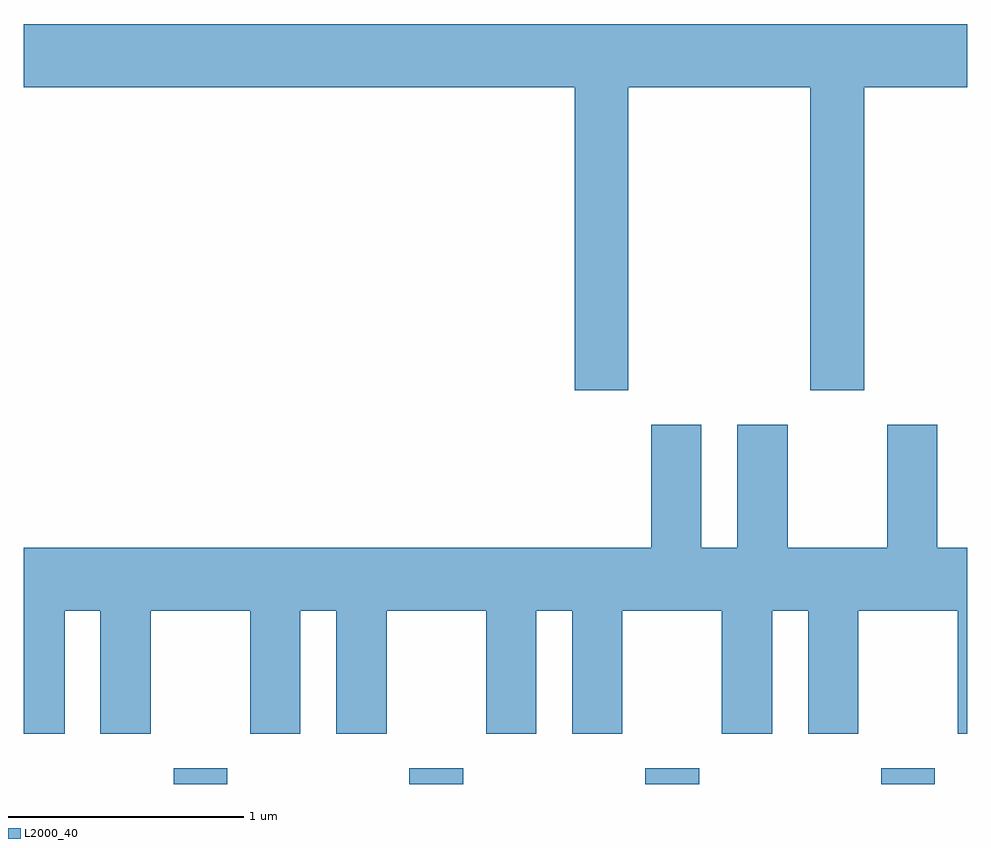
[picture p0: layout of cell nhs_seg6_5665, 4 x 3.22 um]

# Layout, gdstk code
import gdstk
lib = gdstk.Library(unit=1e-6, precision=1e-09)
def R(c, l, rs):  # rectangles x0, y0, x1, y1
    for r in rs: c.add(gdstk.rectangle(r[:2], r[2:], *l))
def A(c, l, x, y, w, h, nx, ny, dx, dy):  # array of equal rectangles
    R(c, l, [(x+i*dx, y+j*dy, x+i*dx+w, y+j*dy+h) for i in range(nx) for j in range(ny)])
def P(c, l, *ps):  # polygons
    for p in ps: c.add(gdstk.Polygon(p, *l))
L2000_40 = (2000, 40)

nhs_seg6_5665 = lib.new_cell('nhs_seg6_5665')
A(nhs_seg6_5665, L2000_40, 358.246, 1578.162, 0.228, 0.067, 4, 1, 1, 0)
P(nhs_seg6_5665, L2000_40, [(360.174,1581.116),(360.946,1581.116),(360.946,1579.831),(361.174,1579.831),(361.174,1581.116),(361.611,1581.116),(361.611,1581.384),(357.611,1581.384),(357.611,1581.116),(359.946,1581.116),(359.946,1579.831),(360.174,1579.831)],
  [(357.784,1578.896),(357.936,1578.896),(357.936,1578.376),(358.149,1578.376),(358.149,1578.896),(358.571,1578.896),(358.571,1578.376),(358.784,1578.376),(358.784,1578.896),(358.936,1578.896),(358.936,1578.376),(359.149,1578.376),(359.149,1578.896),(359.571,1578.896),(359.571,1578.376),(359.784,1578.376),(359.784,1578.896),(359.936,1578.896),(359.936,1578.376),(360.149,1578.376),(360.149,1578.896),(360.571,1578.896),(360.571,1578.376),(360.784,1578.376),(360.784,1578.896),(360.936,1578.896),(360.936,1578.376),(361.149,1578.376),(361.149,1578.896),(361.571,1578.896),(361.571,1578.376),(361.611,1578.376),(361.611,1579.164),(361.484,1579.164),(361.484,1579.684),(361.271,1579.684),(361.271,1579.164),(360.849,1579.164),(360.849,1579.684),(360.636,1579.684),(360.636,1579.164),(360.484,1579.164),(360.484,1579.684),(360.271,1579.684),(360.271,1579.164),(357.611,1579.164),(357.611,1578.376),(357.784,1578.376)])

lib.write_gds('nhs_seg6_5665.gds')
